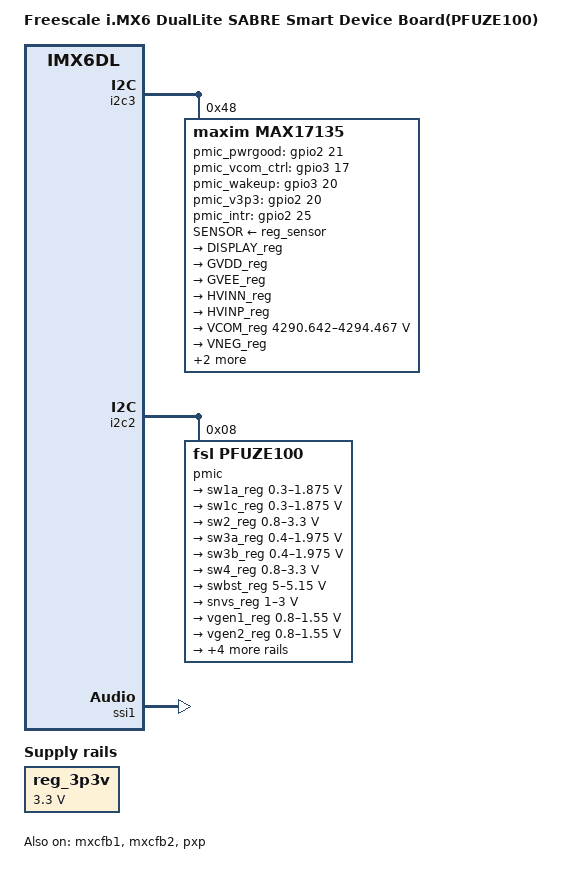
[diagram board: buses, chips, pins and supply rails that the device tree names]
/*
 * Copyright (C) 2013-2014 Freescale Semiconductor, Inc.
 *
 * This program is free software; you can redistribute it and/or modify
 * it under the terms of the GNU General Public License version 2 as
 * published by the Free Software Foundation.
 */

/dts-v1/;

#include "imx6dl.dtsi"
#include "imx6qdl-sabresd.dtsi"


/* This is from imx sabre common */
&i2c3 {
	max17135@48 {
		compatible = "maxim,max17135";
		reg = <0x48>;
		vneg_pwrup = <1>;
		gvee_pwrup = <1>;
		vpos_pwrup = <2>;
		gvdd_pwrup = <1>;
		gvdd_pwrdn = <1>;
		vpos_pwrdn = <2>;
		gvee_pwrdn = <1>;
		vneg_pwrdn = <1>;
		SENSOR-supply = <&reg_sensor>;
		gpio_pmic_pwrgood = <&gpio2 21 0>;
		gpio_pmic_vcom_ctrl = <&gpio3 17 0>;
		gpio_pmic_wakeup = <&gpio3 20 0>;
		gpio_pmic_v3p3 = <&gpio2 20 0>;
		gpio_pmic_intr = <&gpio2 25 0>;

		regulators {
			DISPLAY_reg: DISPLAY {
				regulator-name = "DISPLAY";
			};

			GVDD_reg: GVDD {
				/* 20v */
				regulator-name = "GVDD";
			};

			GVEE_reg: GVEE {
				/* -22v */
				regulator-name = "GVEE";
			};

			HVINN_reg: HVINN {
				/* -22v */
				regulator-name = "HVINN";
			};

			HVINP_reg: HVINP {
				/* 20v */
				regulator-name = "HVINP";
			};

			VCOM_reg: VCOM {
				regulator-name = "VCOM";
				/* 2's-compliment, -4325000 */
				regulator-min-microvolt = <0xffbe0178>;
				/* 2's-compliment, -500000 */
				regulator-max-microvolt = <0xfff85ee0>;
			};

			VNEG_reg: VNEG {
				/* -15v */
				regulator-name = "VNEG";
			};

			VPOS_reg: VPOS {
				/* 15v */
				regulator-name = "VPOS";
			};

			V3P3_reg: V3P3 {
				regulator-name = "V3P3";
			};
		};
	};
};

&iomuxc {
	pinctrl-names = "default";
	pinctrl-0 = <&pinctrl_hog_1>, <&pinctrl_hog_2>;

	hog {
		pinctrl_hog_2: hoggrp-2 {
			fsl,pins = <
				/* MAX17135 */
				MX6QDL_PAD_EIM_A17__GPIO2_IO21 0x80000000
				MX6QDL_PAD_EIM_D17__GPIO3_IO17 0x80000000
				MX6QDL_PAD_EIM_D20__GPIO3_IO20 0x80000000
				MX6QDL_PAD_EIM_A18__GPIO2_IO20 0x80000000
				MX6QDL_PAD_EIM_OE__GPIO2_IO25 0x80000000
				/* elan touch */
				MX6QDL_PAD_EIM_A20__GPIO2_IO18 0x80000000
				MX6QDL_PAD_EIM_DA8__GPIO3_IO08 0x80000000
				MX6QDL_PAD_EIM_D28__GPIO3_IO28 0x170b0
			>;
		};
	};
};

&ldb {
	ipu_id = <0>;
	sec_ipu_id = <0>;
};

&mxcfb1 {
	status = "okay";
};

&mxcfb2 {
	status = "okay";
};

&pxp {
	status = "okay";
};
/* Done with include from imx common */



/ {
	model = "Freescale i.MX6 DualLite SABRE Smart Device Board(PFUZE100)";
	compatible = "fsl,imx6dl-amherst", "fsl,imx6dl";

	regulators {
                compatible = "simple-bus";

                reg_3p3v: 3p3v {
                        compatible = "regulator-fixed";
                        regulator-name = "3P3V";
                        regulator-min-microvolt = <3300000>;
                        regulator-max-microvolt = <3300000>;
                        regulator-always-on;
                };
        };

	sound {
                compatible = "fsl,imx6q-sabrelite-sgtl5000",
                             "fsl,imx-audio-sgtl5000";
                model = "imx6q-sabrelite-sgtl5000";
                ssi-controller = <&ssi1>;
                audio-codec = <&codec>;
                audio-routing =
                        "MIC_IN", "Mic Jack",
                        "Mic Jack", "Mic Bias",
                        "Headphone Jack", "HP_OUT";
                mux-int-port = <1>;
                mux-ext-port = <3>;
        };
};


&i2c2 {
	pmic: pfuze100@08 {
		compatible = "fsl,pfuze100";
		reg = <0x08>;

		regulators {
			sw1a_reg: sw1ab {
				regulator-min-microvolt = <300000>;
				regulator-max-microvolt = <1875000>;
				regulator-boot-on;
				regulator-always-on;
				regulator-ramp-delay = <6250>;
			};

			sw1c_reg: sw1c {
				regulator-min-microvolt = <300000>;
				regulator-max-microvolt = <1875000>;
				regulator-boot-on;
				regulator-always-on;
				regulator-ramp-delay = <6250>;
			};

			sw2_reg: sw2 {
				regulator-min-microvolt = <800000>;
				regulator-max-microvolt = <3300000>;
				regulator-boot-on;
				regulator-always-on;
			};

			sw3a_reg: sw3a {
				regulator-min-microvolt = <400000>;
				regulator-max-microvolt = <1975000>;
				regulator-boot-on;
				regulator-always-on;
			};

			sw3b_reg: sw3b {
				regulator-min-microvolt = <400000>;
				regulator-max-microvolt = <1975000>;
				regulator-boot-on;
				regulator-always-on;
			};

			sw4_reg: sw4 {
				regulator-min-microvolt = <800000>;
				regulator-max-microvolt = <3300000>;
			};

			swbst_reg: swbst {
				regulator-min-microvolt = <5000000>;
				regulator-max-microvolt = <5150000>;
			};

			snvs_reg: vsnvs {
				regulator-min-microvolt = <1000000>;
				regulator-max-microvolt = <3000000>;
				regulator-boot-on;
				regulator-always-on;
			};

			vref_reg: vrefddr {
				regulator-boot-on;
				regulator-always-on;
			};

			vgen1_reg: vgen1 {
				regulator-min-microvolt = <800000>;
				regulator-max-microvolt = <1550000>;
			};

			vgen2_reg: vgen2 {
				regulator-min-microvolt = <800000>;
				regulator-max-microvolt = <1550000>;
			};

			vgen3_reg: vgen3 {
				regulator-min-microvolt = <1800000>;
				regulator-max-microvolt = <3300000>;
			};

			vgen4_reg: vgen4 {
				regulator-min-microvolt = <1800000>;
				regulator-max-microvolt = <3300000>;
				regulator-always-on;
			};

			vgen5_reg: vgen5 {
				regulator-min-microvolt = <1800000>;
				regulator-max-microvolt = <3300000>;
				regulator-always-on;
			};

			vgen6_reg: vgen6 {
				regulator-min-microvolt = <1800000>;
				regulator-max-microvolt = <3300000>;
				regulator-always-on;
			};
		};
	};
};

&ssi1 {
        fsl,mode = "i2s-slave";
        status = "okay";
};

